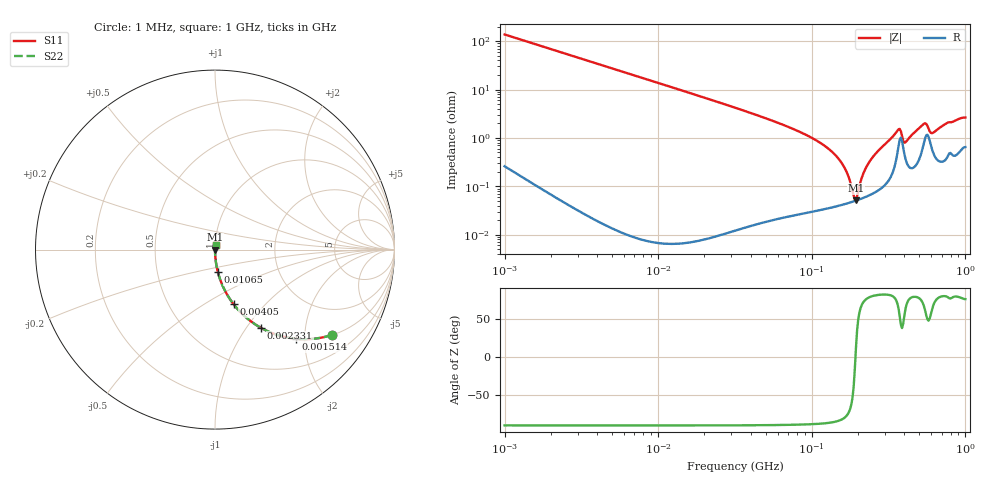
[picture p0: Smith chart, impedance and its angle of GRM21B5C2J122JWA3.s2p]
!Murata Part Number: GRM21B5C2J122JWA3
!These Parameters are Measured in Series Mode Connection
!Data Generated on Mar 30, 2021
!  o--ll--o
!Port1  Port2
!  o------o
!Operation Temp=25[degC], DC Bias Voltage=0[V]
!Freq. Start=1000[kHz] Stop=1000[MHz] 401[Steps]
# Hz S RI R 50
!Freq.(Hz) S11(Real) S11(Imag) S21(Real) S21(Imag) S12(Real) S12(Imag) S22(Real) S22(Imag)
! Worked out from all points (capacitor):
!   401 points, 1 MHz to 1 GHz, reference 50 ohm
!   read as one part in series: C = 1.16 nF near 1.035 MHz
!   lowest |Z| = 51.7 mohm at 193.9 MHz (marker M1)
!   series resonance near 192.5 MHz, so ESL is about 590 pH
!   S11 on the Smith chart (normalised r, x): 1 MHz: 1.01, -2.75; 1.514 MHz: 1.00, -1.82; 2.331 MHz: 1.00, -1.18; 4.05 MHz: 1.00, -0.68; 10.65 MHz: 1.00, -0.26; 1 GHz: 1.01, +0.05
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1000000  0.6534 -0.4749  0.3466 0.4749  0.3466 0.4749  0.6534 -0.4749
1513561  0.4518 -0.497  0.5482 0.497  0.5482 0.497  0.4518 -0.497
2330773  0.258 -0.4371  0.742 0.4371  0.742 0.4371  0.258 -0.4371
3180534  0.1574 -0.3638  0.8426 0.3638  0.8426 0.3638  0.1574 -0.3638
4050419  0.1032 -0.304  0.8968 0.304  0.8968 0.304  0.1032 -0.304
1.01158e7  0.0181 -0.133  0.9819 0.133  0.9819 0.133  0.0181 -0.133
1.065369e7  0.0163 -0.1264  0.9837 0.1264  0.9837 0.1264  0.0163 -0.1264
3.162278e7  0.0019 -0.0421  0.9981 0.0421  0.9981 0.0421  0.0019 -0.0421
1.005773e8  0.000397 -0.00993  0.9996 0.00993  0.9996 0.00993  0.000397 -0.00993
1.522299e8  0.000413 -0.00341  0.9996 0.00341  0.9996 0.00341  0.000413 -0.00341
1.688496e8  0.000444 -0.0019  0.9996 0.0019  0.9996 0.0019  0.000444 -0.0019
1.872837e8  0.000488 -0.000398  0.9995 0.000398  0.9995 0.000398  0.000488 -0.000398
1.938653e8  0.000506 0.000105  0.9995 -0.000105  0.9995 -0.000105  0.000506 0.000105
2.150305e8  0.000574 0.00164  0.9994 -0.00164  0.9994 -0.00164  0.000574 0.00164
2.344229e8  0.000651 0.00296  0.9993 -0.00296  0.9993 -0.00296  0.000651 0.00296
3.198895e8  0.00147 0.0089  0.9985 -0.0089  0.9985 -0.0089  0.00147 0.0089
3.672823e8  0.00698 0.0133  0.993 -0.0133  0.993 -0.0133  0.00698 0.0133
4.073803e8  0.00373 0.0072  0.9963 -0.0072  0.9963 -0.0072  0.00373 0.0072
5.370318e8  0.00805 0.0177  0.9919 -0.0177  0.9919 -0.0177  0.00805 0.0177
6.16595e8  0.00509 0.0116  0.9949 -0.0116  0.9949 -0.0116  0.00509 0.0116
7.585776e8  0.00427 0.0198  0.9957 -0.0198  0.9957 -0.0198  0.00427 0.0198
1e9  0.00707 0.0252  0.9929 -0.0252  0.9929 -0.0252  0.00707 0.0252
